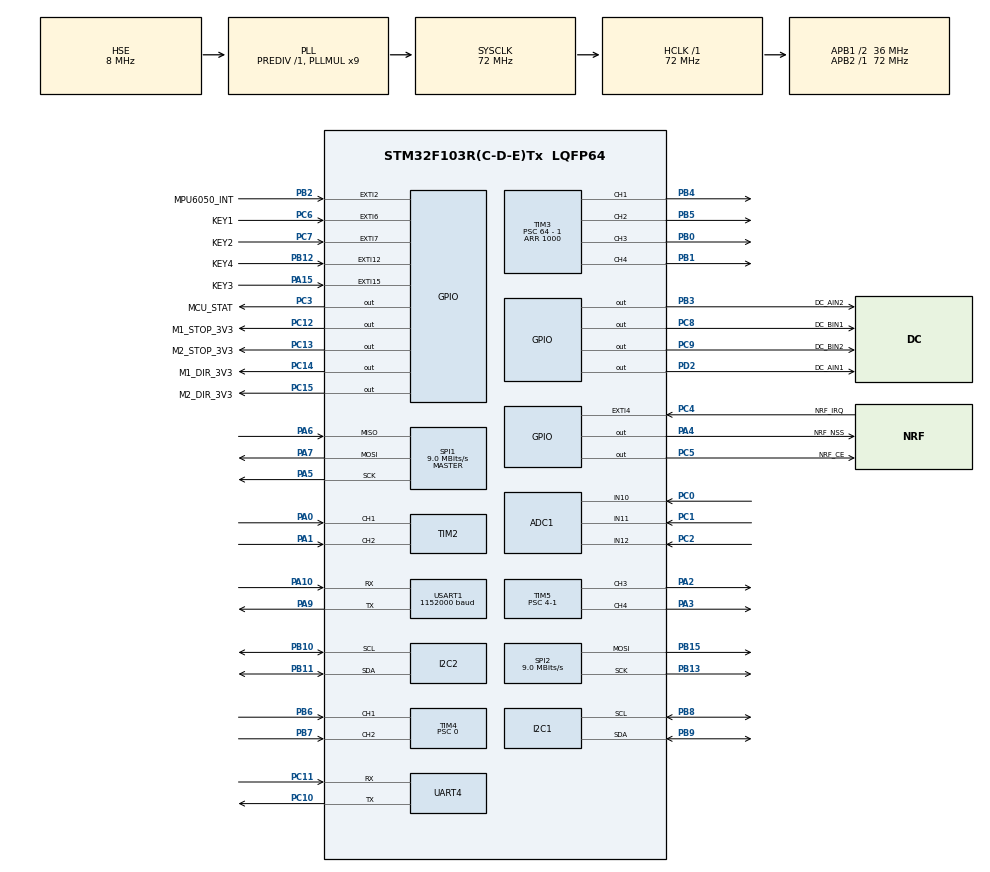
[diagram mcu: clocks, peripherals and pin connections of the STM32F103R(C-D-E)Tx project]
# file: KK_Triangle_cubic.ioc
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ADC1.Channel-0\#ChannelRegularConversion=ADC_CHANNEL_10
ADC1.Channel-1\#ChannelRegularConversion=ADC_CHANNEL_11
ADC1.Channel-2\#ChannelRegularConversion=ADC_CHANNEL_12
ADC1.ContinuousConvMode=ENABLE
ADC1.NbrOfConversion=3
ADC1.NbrOfConversionFlag=1
ADC1.Rank-0\#ChannelRegularConversion=1
ADC1.Rank-1\#ChannelRegularConversion=2
ADC1.Rank-2\#ChannelRegularConversion=3
ADC1.SamplingTime-0\#ChannelRegularConversion=ADC_SAMPLETIME_239CYCLES_5
ADC1.SamplingTime-1\#ChannelRegularConversion=ADC_SAMPLETIME_239CYCLES_5
ADC1.SamplingTime-2\#ChannelRegularConversion=ADC_SAMPLETIME_239CYCLES_5
ADC1.master=1
Dma.ADC1.0.Direction=DMA_PERIPH_TO_MEMORY
Dma.ADC1.0.Instance=DMA1_Channel1
Dma.ADC1.0.MemDataAlignment=DMA_MDATAALIGN_HALFWORD
Dma.ADC1.0.MemInc=DMA_MINC_ENABLE
Dma.ADC1.0.Mode=DMA_CIRCULAR
Dma.ADC1.0.PeriphDataAlignment=DMA_PDATAALIGN_HALFWORD
Dma.ADC1.0.PeriphInc=DMA_PINC_DISABLE
Dma.ADC1.0.Priority=DMA_PRIORITY_LOW
Dma.Request0=ADC1
Dma.Request1=SPI2_TX
Dma.SPI2_TX.1.Direction=DMA_MEMORY_TO_PERIPH
Dma.SPI2_TX.1.Instance=DMA1_Channel5
Dma.SPI2_TX.1.MemDataAlignment=DMA_MDATAALIGN_BYTE
Dma.SPI2_TX.1.MemInc=DMA_MINC_ENABLE
Dma.SPI2_TX.1.Mode=DMA_CIRCULAR
Dma.SPI2_TX.1.PeriphDataAlignment=DMA_PDATAALIGN_BYTE
Dma.SPI2_TX.1.PeriphInc=DMA_PINC_DISABLE
Dma.SPI2_TX.1.Priority=DMA_PRIORITY_VERY_HIGH
I2C1.I2C_Mode=I2C_Fast
I2C2.I2C_Mode=I2C_Fast
Mcu.Family=STM32F1
Mcu.Name=STM32F103R(C-D-E)Tx
Mcu.Package=LQFP64
NVIC.DMA1_Channel1_IRQn=true\:0\:0\:false\:false\:true\:false\:true\:true
NVIC.DMA1_Channel5_IRQn=true\:0\:0\:false\:false\:true\:false\:true\:true
NVIC.EXTI15_10_IRQn=true\:3\:0\:true\:false\:true\:true\:true\:true
NVIC.EXTI2_IRQn=true\:1\:1\:true\:false\:true\:true\:true\:true
NVIC.EXTI4_IRQn=true\:2\:0\:true\:false\:true\:true\:true\:true
NVIC.EXTI9_5_IRQn=true\:3\:0\:true\:false\:true\:true\:true\:true
NVIC.PriorityGroup=NVIC_PRIORITYGROUP_2
NVIC.TIM4_IRQn=true\:1\:0\:true\:false\:true\:true\:true\:true
NVIC.UART4_IRQn=true\:3\:0\:true\:false\:true\:true\:true\:true
NVIC.USART1_IRQn=true\:3\:0\:true\:false\:true\:true\:true\:true
PA0-WKUP.GPIO_PuPd=GPIO_PULLUP
PA0-WKUP.Signal=S_TIM2_CH1_ETR
PA1.GPIO_PuPd=GPIO_PULLUP
PA1.Signal=S_TIM2_CH2
PA10.Mode=Asynchronous
PA10.Signal=USART1_RX
PA13.Mode=Serial_Wire
PA13.Signal=SYS_JTMS-SWDIO
PA14.Mode=Serial_Wire
PA14.Signal=SYS_JTCK-SWCLK
PA15.GPIO_Label=KEY3
PA15.GPIO_PuPd=GPIO_PULLUP
PA15.Signal=GPXTI15
PA2.Signal=S_TIM5_CH3
PA3.Signal=S_TIM5_CH4
PA4.GPIO_Label=NRF_NSS
PA4.GPIO_Speed=GPIO_SPEED_FREQ_HIGH
PA4.Signal=GPIO_Output
PA5.Mode=Full_Duplex_Master
PA5.Signal=SPI1_SCK
PA6.Mode=Full_Duplex_Master
PA6.Signal=SPI1_MISO
PA7.Mode=Full_Duplex_Master
PA7.Signal=SPI1_MOSI
PA9.Mode=Asynchronous
PA9.Signal=USART1_TX
PB0.Signal=S_TIM3_CH3
PB1.Signal=S_TIM3_CH4
PB10.Mode=I2C
PB10.Signal=I2C2_SCL
PB11.Mode=I2C
PB11.Signal=I2C2_SDA
PB12.GPIO_Label=KEY4
PB12.GPIO_PuPd=GPIO_PULLUP
PB12.Signal=GPXTI12
PB13.Mode=TX_Only_Simplex_Unidirect_Master
PB13.Signal=SPI2_SCK
PB15.Mode=TX_Only_Simplex_Unidirect_Master
PB15.Signal=SPI2_MOSI
PB2.GPIO_Label=MPU6050_INT
PB2.Signal=GPXTI2
PB3.GPIO_Label=DC_AIN2
PB3.GPIO_Speed=GPIO_SPEED_FREQ_HIGH
PB3.Signal=GPIO_Output
PB4.Signal=S_TIM3_CH1
PB5.Signal=S_TIM3_CH2
PB6.Signal=S_TIM4_CH1
PB7.Signal=S_TIM4_CH2
PB8.Mode=I2C
PB8.Signal=I2C1_SCL
PB9.Mode=I2C
PB9.Signal=I2C1_SDA
PC0.Signal=ADCx_IN10
PC1.Signal=ADCx_IN11
PC10.Mode=Asynchronous
PC10.Signal=UART4_TX
PC11.Mode=Asynchronous
PC11.Signal=UART4_RX
PC12.GPIO_Label=M1_STOP_3V3
PC12.GPIO_Speed=GPIO_SPEED_FREQ_HIGH
PC12.Signal=GPIO_Output
PC13-TAMPER-RTC.GPIO_Label=M2_STOP_3V3
PC13-TAMPER-RTC.GPIO_Speed=GPIO_SPEED_FREQ_HIGH
PC13-TAMPER-RTC.Signal=GPIO_Output
PC14-OSC32_IN.GPIO_Label=M1_DIR_3V3
PC14-OSC32_IN.GPIO_Speed=GPIO_SPEED_FREQ_HIGH
PC14-OSC32_IN.Signal=GPIO_Output
PC15-OSC32_OUT.GPIO_Label=M2_DIR_3V3
PC15-OSC32_OUT.GPIO_Speed=GPIO_SPEED_FREQ_HIGH
PC15-OSC32_OUT.Signal=GPIO_Output
PC2.Signal=ADCx_IN12
PC3.GPIO_Label=MCU_STAT
PC3.Signal=GPIO_Output
PC4.GPIO_Label=NRF_IRQ
PC4.Signal=GPXTI4
PC5.GPIO_Label=NRF_CE
PC5.GPIO_Speed=GPIO_SPEED_FREQ_HIGH
PC5.Signal=GPIO_Output
PC6.GPIO_Label=KEY1
PC6.GPIO_PuPd=GPIO_PULLUP
PC6.Signal=GPXTI6
PC7.GPIO_Label=KEY2
PC7.GPIO_PuPd=GPIO_PULLUP
PC7.Signal=GPXTI7
PC8.GPIO_Label=DC_BIN1
PC8.GPIO_Speed=GPIO_SPEED_FREQ_HIGH
PC8.Signal=GPIO_Output
PC9.GPIO_Label=DC_BIN2
PC9.GPIO_Speed=GPIO_SPEED_FREQ_HIGH
PC9.Signal=GPIO_Output
PD0-OSC_IN.Mode=HSE-External-Oscillator
PD0-OSC_IN.Signal=RCC_OSC_IN
PD1-OSC_OUT.Mode=HSE-External-Oscillator
PD1-OSC_OUT.Signal=RCC_OSC_OUT
PD2.GPIO_Label=DC_AIN1
PD2.GPIO_Speed=GPIO_SPEED_FREQ_HIGH
PD2.Signal=GPIO_Output
ProjectManager.HeapSize=0x200
ProjectManager.StackSize=0x400
ProjectManager.TargetToolchain=MDK-ARM V5.27
RCC.ADCPresc=RCC_ADCPCLK2_DIV6
RCC.AHBFreq_Value=72000000
RCC.APB1CLKDivider=RCC_HCLK_DIV2
RCC.APB1Freq_Value=36000000
RCC.APB1TimFreq_Value=72000000
RCC.APB2Freq_Value=72000000
RCC.APB2TimFreq_Value=72000000
RCC.HCLKFreq_Value=72000000
RCC.PLLMUL=RCC_PLL_MUL9
RCC.PLLSourceVirtual=RCC_PLLSOURCE_HSE
RCC.SYSCLKFreq_VALUE=72000000
RCC.SYSCLKSource=RCC_SYSCLKSOURCE_PLLCLK
RCC.USBFreq_Value=48000000
RCC.USBPrescaler=RCC_USBCLKSOURCE_PLL_DIV1_5
SH.ADCx_IN10.0=ADC1_IN10,IN10
SH.ADCx_IN11.0=ADC1_IN11,IN11
SH.ADCx_IN12.0=ADC1_IN12,IN12
SH.S_TIM2_CH1_ETR.0=TIM2_CH1,Encoder_Interface
SH.S_TIM2_CH2.0=TIM2_CH2,Encoder_Interface
SH.S_TIM3_CH1.0=TIM3_CH1,PWM Generation1 CH1
SH.S_TIM3_CH2.0=TIM3_CH2,PWM Generation2 CH2
SH.S_TIM3_CH3.0=TIM3_CH3,PWM Generation3 CH3
SH.S_TIM3_CH4.0=TIM3_CH4,PWM Generation4 CH4
SH.S_TIM4_CH1.0=TIM4_CH1,Encoder_Interface
SH.S_TIM4_CH2.0=TIM4_CH2,Encoder_Interface
SH.S_TIM5_CH3.0=TIM5_CH3,PWM Generation3 CH3
SH.S_TIM5_CH4.0=TIM5_CH4,PWM Generation4 CH4
SPI1.BaudRatePrescaler=SPI_BAUDRATEPRESCALER_8
SPI1.CalculateBaudRate=9.0 MBits/s
SPI1.Direction=SPI_DIRECTION_2LINES
SPI1.Mode=SPI_MODE_MASTER
SPI1.VirtualType=VM_MASTER
SPI2.BaudRatePrescaler=SPI_BAUDRATEPRESCALER_4
SPI2.CalculateBaudRate=9.0 MBits/s
SPI2.Direction=SPI_DIRECTION_2LINES
SPI2.Mode=SPI_MODE_MASTER
SPI2.VirtualType=VM_MASTER
TIM2.EncoderMode=TIM_ENCODERMODE_TI12
TIM2.IC1Filter=8
TIM2.IC2Filter=8
TIM3.AutoReloadPreload=TIM_AUTORELOAD_PRELOAD_ENABLE
TIM3.Channel-PWM\ Generation1\ CH1=TIM_CHANNEL_1
TIM3.Channel-PWM\ Generation2\ CH2=TIM_CHANNEL_2
TIM3.Channel-PWM\ Generation3\ CH3=TIM_CHANNEL_3
TIM3.Channel-PWM\ Generation4\ CH4=TIM_CHANNEL_4
TIM3.Period=1000
TIM3.Prescaler=64 - 1
TIM4.EncoderMode=TIM_ENCODERMODE_TI12
TIM4.IC1Filter=8
TIM4.IC2Filter=8
TIM4.Prescaler=0
TIM5.AutoReloadPreload=TIM_AUTORELOAD_PRELOAD_ENABLE
TIM5.Channel-PWM\ Generation3\ CH3=TIM_CHANNEL_3
TIM5.Channel-PWM\ Generation4\ CH4=TIM_CHANNEL_4
TIM5.Period=900
TIM5.Prescaler=4-1
TIM8.AutoReloadPreload=TIM_AUTORELOAD_PRELOAD_ENABLE
TIM8.Period=1800
TIM8.Prescaler=711 - 1
UART4.VirtualMode=Asynchronous
USART1.BaudRate=1152000
USART1.VirtualMode=VM_ASYNC
VP_TIM1_VS_ClockSourceINT.Mode=Internal
VP_TIM3_VS_ClockSourceINT.Mode=Internal
VP_TIM5_VS_ClockSourceINT.Mode=Internal
VP_TIM8_VS_ClockSourceINT.Mode=Internal
board=custom

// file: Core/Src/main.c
/* USER CODE BEGIN Header */
/**
  ******************************************************************************
  * @file           : main.c
  * @brief          : Main program body
  ******************************************************************************
  * @attention
  *
  * <h2><center>&copy; Copyright (c) 2020 STMicroelectronics.
  * All rights reserved.</center></h2>
  *
  * This software component is licensed by ST under BSD 3-Clause license,
  * the "License"; You may not use this file except in compliance with the
  * License. You may obtain a copy of the License at:
  *                        opensource.org/licenses/BSD-3-Clause
  *
  ******************************************************************************
  */
/* USER CODE END Header */
#include "main.h"
#include "adc.h"
#include "dma.h"
#include "i2c.h"
#include "spi.h"
#include "tim.h"
#include "usart.h"
#include "gpio.h"

/* USER CODE BEGIN Includes */
#include "mpu_dmp_useapi.h"
#include "stdio.h"
#include "OLED.h"
#include "EXTI.h"
#include "key.h"
#include "ws2812b.h"
#include "ws2812b_fx.h"
#include "system.h"
#include "Task_dispose.h"
#include "flash.h"
/* USER CODE END Includes */

void SystemClock_Config(void);

/* USER CODE BEGIN 0 */
uint32_t wirte_buff[10] = {1,2,3,4,5,6,7,8,9,10};
uint32_t read_buff[10] = {1,2,3,4,5,6,7,8,9,10};
/* USER CODE END 0 */

int main(void)
{

  /* MCU Configuration--------------------------------------------------------*/

  /* Reset of all peripherals, Initializes the Flash interface and the Systick. */
  HAL_Init();

  /* Configure the system clock */
  SystemClock_Config();

  /* Initialize all configured peripherals */
  MX_GPIO_Init();
  MX_DMA_Init();
  MX_ADC1_Init();
  MX_I2C1_Init();
  MX_I2C2_Init();
  MX_TIM3_Init();
  MX_TIM4_Init();
  MX_TIM5_Init();
  MX_TIM8_Init();
  MX_USART1_UART_Init();
  MX_SPI1_Init();
  MX_SPI2_Init();
  MX_TIM1_Init();
  MX_TIM2_Init();
  MX_UART4_Init();
  /* USER CODE BEGIN 2 */
	system_init();//系统初始
	HAL_TIM_PWM_Start(&htim5,TIM_CHANNEL_3);//定时器5通道3使能
	HAL_TIM_PWM_Start(&htim5,TIM_CHANNEL_4);//定时器5通道4使能
  /* USER CODE END 2 */

  /* Infinite loop */
  /* USER CODE BEGIN WHILE */
  while (1)
  {
		Task_polling();//循环执行任务
//		HAL_Delay(500);
    /* USER CODE END WHILE */

  }
}

void SystemClock_Config(void)
{
  RCC_OscInitTypeDef RCC_OscInitStruct = {0};
  RCC_ClkInitTypeDef RCC_ClkInitStruct = {0};
  RCC_PeriphCLKInitTypeDef PeriphClkInit = {0};

  /** Initializes the RCC Oscillators according to the specified parameters
  * in the RCC_OscInitTypeDef structure.
  */
  RCC_OscInitStruct.OscillatorType = RCC_OSCILLATORTYPE_HSE;
  RCC_OscInitStruct.HSEState = RCC_HSE_ON;
  RCC_OscInitStruct.HSEPredivValue = RCC_HSE_PREDIV_DIV1;
  RCC_OscInitStruct.HSIState = RCC_HSI_ON;
  RCC_OscInitStruct.PLL.PLLState = RCC_PLL_ON;
  RCC_OscInitStruct.PLL.PLLSource = RCC_PLLSOURCE_HSE;
  RCC_OscInitStruct.PLL.PLLMUL = RCC_PLL_MUL9;
  if (HAL_RCC_OscConfig(&RCC_OscInitStruct) != HAL_OK)
  {
    Error_Handler();
  }
  /** Initializes the CPU, AHB and APB buses clocks
  */
  RCC_ClkInitStruct.ClockType = RCC_CLOCKTYPE_HCLK|RCC_CLOCKTYPE_SYSCLK
                              |RCC_CLOCKTYPE_PCLK1|RCC_CLOCKTYPE_PCLK2;
  RCC_ClkInitStruct.SYSCLKSource = RCC_SYSCLKSOURCE_PLLCLK;
  RCC_ClkInitStruct.AHBCLKDivider = RCC_SYSCLK_DIV1;
  RCC_ClkInitStruct.APB1CLKDivider = RCC_HCLK_DIV2;
  RCC_ClkInitStruct.APB2CLKDivider = RCC_HCLK_DIV1;

  if (HAL_RCC_ClockConfig(&RCC_ClkInitStruct, FLASH_LATENCY_2) != HAL_OK)
  {
    Error_Handler();
  }
  PeriphClkInit.PeriphClockSelection = RCC_PERIPHCLK_ADC;
  PeriphClkInit.AdcClockSelection = RCC_ADCPCLK2_DIV6;
  if (HAL_RCCEx_PeriphCLKConfig(&PeriphClkInit) != HAL_OK)
  {
    Error_Handler();
  }
}

void Error_Handler(void)
{
}

/************************ (C) COPYRIGHT STMicroelectronics *****END OF FILE****/
